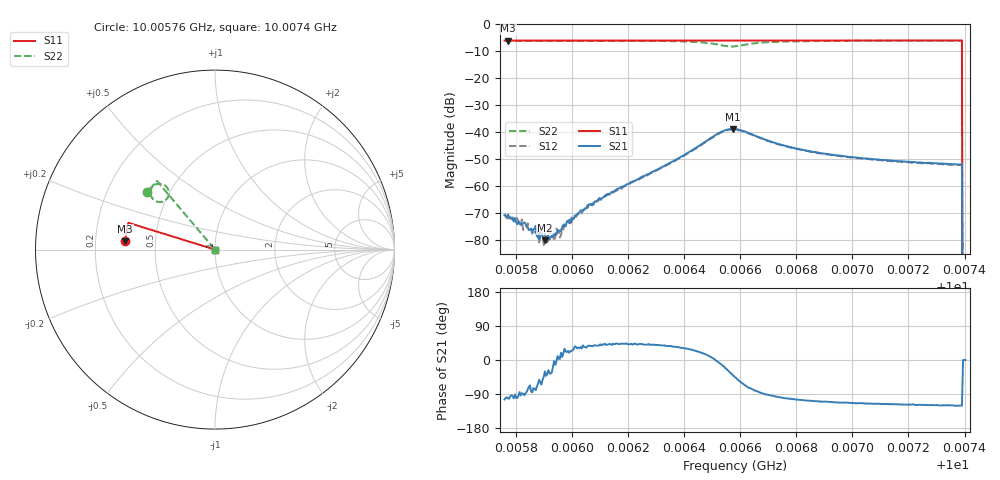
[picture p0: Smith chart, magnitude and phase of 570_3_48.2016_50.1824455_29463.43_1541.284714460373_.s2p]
#  HZ  S  RI  R  50.00
! Rohde & Schwarz Vector Network Analyzer
! Rohde-Schwarz,ZNB20-2Port,1311601062101988,3.16
! Created: UTC 3/20/2024, 12:01:39 PM
! freq[Hz]  re:S11  im:S11  re:S21  im:S21  re:S12  im:S12  re:S22  im:S22
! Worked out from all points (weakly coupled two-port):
!   401 points, 10.00576 GHz to 10.0074 GHz, reference 50 ohm
!   highest |S21| = -38.82 dB at 10.00657 GHz (marker M1); lowest = -80.2 dB at 10.0059 GHz (marker M2)
!   lowest |S11| = -6.0 dB at 10.00577 GHz (marker M3), VSWR 3.02, Z = 16.6 + j2.06 ohm
!   |S11| at or under -10 dB: 10.00739 GHz to end of sweep
!   |S22| runs from - to -6.0 dB; largest |S21 - S12| = 0.00082
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1.000576e10  -0.5 0.0455  -6.96e-05 -0.000278  -6.11e-05 -0.000294  -0.3796 0.3216
1.0005773e10  -0.4997 0.0464  -5.85e-05 -0.000289  -4.28e-05 -0.000245  -0.3789 0.3224
1.0005802e10  -0.4996 0.0484  -3.71e-05 -0.000212  2.16e-05 -0.000265  -0.3774 0.3241
1.0005822e10  -0.4996 0.0497  7.59e-06 -0.000198  4.87e-06 -0.00024  -0.3764 0.3254
1.0005847e10  -0.4995 0.0512  4.85e-05 -0.000144  4.31e-05 -0.000172  -0.3752 0.3269
1.0005863e10  -0.4993 0.0523  4.25e-05 -0.000152  3.99e-05 -0.000116  -0.3743 0.3281
1.0005884e10  -0.4992 0.0536  6.23e-05 -7.98e-05  6.35e-05 -6.3e-05  -0.3734 0.3293
1.0005904e10  -0.4992 0.0551  8.43e-05 -4.87e-05  7.65e-05 -0.000107  -0.3722 0.3304
1.0005929e10  -0.4989 0.0568  9.6e-05 -6.19e-05  0.000113 -1.73e-05  -0.3709 0.3321
1.0005962e10  -0.4989 0.0587  0.000142 4.94e-05  0.000123 9.39e-06  -0.3689 0.3342
1.0005982e10  -0.4988 0.0602  0.000205 7.77e-05  0.000178 6.46e-05  -0.368 0.3356
1.0006036e10  -0.4985 0.0637  0.000302 0.000179  0.000263 0.000166  -0.3643 0.3391
1.0006122e10  -0.4979 0.0693  0.000524 0.000448  0.000482 0.000432  -0.3583 0.3451
1.0006311e10  -0.4963 0.0816  0.00164 0.00133  0.0015 0.00138  -0.3376 0.3601
1.0006528e10  -0.4933 0.0953  0.00974 -0.00154  0.0096 -0.000954  -0.2582 0.3257
1.0006573e10  -0.4928 0.0976  0.00881 -0.00733  0.00905 -0.00668  -0.2772 0.2748
1.0006582e10  -0.4927 0.098  0.00796 -0.00812  0.0083 -0.00752  -0.2864 0.2693
1.0006672e10  -0.4926 0.1036  0.000536 -0.00783  0.000886 -0.00769  -0.3534 0.2924
1.0006857e10  -0.4906 0.1157  -0.00132 -0.00413  -0.00112 -0.0041  -0.3541 0.3407
1.0007132e10  -0.4868 0.1331  -0.00132 -0.00267  -0.0012 -0.00266  -0.3379 0.3667
1.0007382e10  -0.4827 0.1489  -0.00128 -0.00216  -0.00112 -0.00218  -0.3241 0.3819
1.0007403e10  0 0  0 0  0 0  0 0
